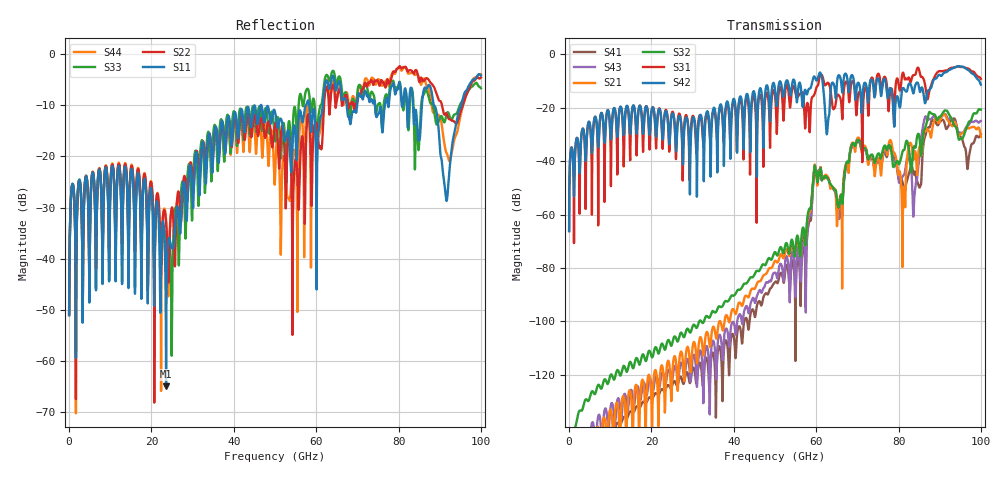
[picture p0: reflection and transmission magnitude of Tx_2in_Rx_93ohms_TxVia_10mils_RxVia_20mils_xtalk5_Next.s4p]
! Info: Touchstone file created by Circ.  Input file=Tx_2in_Rx_93ohms_TxVia_10mils_RxVia_20mils.circ
# Hz S RI R 50
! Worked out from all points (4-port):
!   10000 points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, 10 MHz to 100 GHz, reference 50 ohm
!   strongest paths, dB at 10 MHz, 25.01 GHz, 50.01 GHz, 75.01 GHz, 100 GHz:
!     S42: -66.2, -22.4, -13.1, -9.0, -11.4
!     S31: -66.2, -21.7, -15.5, -7.3, -9.2
!     S32: -177.7, -108.5, -74.0, -37.3, -20.7
!     S21: -, -121.8, -77.3, -38.9, -30.9
!     S43: -154.4, -122.3, -81.8, -40.0, -24.9
!     S41: -154.6, -124.1, -85.3, -39.6, -29.9
!   lowest |S11| = -64.9 dB at 23.55 GHz (marker M1), VSWR 1.00, Z = 50 + j0.0525 ohm
!   |S11| at or under -10 dB: start of sweep to 46.52 GHz; 46.7 GHz to 57.54 GHz (10.84 GHz wide, 20.8 % of centre); 88.65 GHz to 95.22 GHz (6.572 GHz wide, 7.15 % of centre) (the widest 3 of 10)
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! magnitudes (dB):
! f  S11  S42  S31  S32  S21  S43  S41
! 10 MHz  -51.0  -66.2  -66.2  -177.7  -  -154.4  -154.6
! 23.55 GHz  -64.9  -21.2  -20.8  -109.4  -120.4  -122.9  -125.1
! 40.26 GHz  -11.3  -17.8  -19.3  -90.0  -96.7  -102.8  -110.0
! 56.12 GHz  -11.0  -11.0  -14.7  -75.7  -74.1  -81.1  -86.5
! 70.19 GHz  -8.2  -10.6  -15.1  -32.0  -31.2  -32.8  -32.4
! 81.21 GHz  -9.0  -12.6  -7.2  -35.8  -51.6  -45.3  -50.1
! 100 GHz  -4.2  -11.4  -9.2  -20.7  -30.9  -24.9  -29.9
